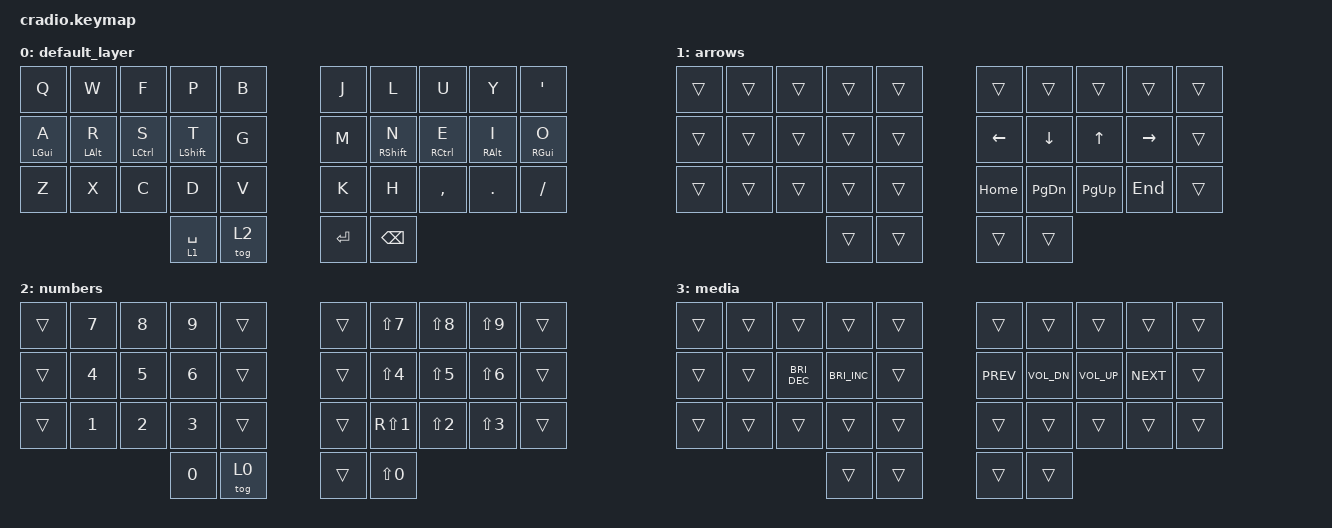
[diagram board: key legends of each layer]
/*
 * Copyright (c) 2020 The ZMK Contributors
 *
 * SPDX-License-Identifier: MIT
 */

#include <behaviors.dtsi>
#include "keymap_italian.h"
#include <dt-bindings/zmk/keys.h>

// Layer definitions

#define BASE 0
#define SYM 1
#define EXT 2
#define FNC 3
#define SYM2 4
#define ACCENT 5
#define SETTINGS 6

// -----------------

&mt {
    //  flavor = "tap-preferred";
    // tapping_term_ms = <200>;
};

&sk {
    ignore-modifiers;
};

/ {
    macros {
        // sometimes my device thinks a modifier is being held down
        // pressing all modifiers fixes it.

        unstick: unstick {
            label = "ZM_unstick";
            compatible = "zmk,behavior-macro";
            #binding-cells = <0>;
            bindings = <&kp LSHIFT &kp RSHIFT &kp LCTRL &kp RCTRL &kp LALT &kp RALT &kp LGUI &kp RGUI>;
        };
    };

    combos {
        compatible = "zmk,combos";

        // both right thumb keys
        // internal-left & external-right thumb keys
        // both left thumb keys

        esc {
            timeout-ms = <300>;
            key-positions = <30 31>;
            bindings = <&kp ESC>;
        };

        tog_def_layer {
            bindings = <&tog 0>;
            key-positions = <33 30>;
            layers = <3 1 2>;
        };
    };

    keymap {
        compatible = "zmk,keymap";

        // Base alpha layer

        default_layer {
            bindings = <
&kp Q       &kp W           &kp F        &kp P             &kp B     &kp J       &kp L              &kp U        &kp Y            &kp SQT
&mt LGUI A  &mt LEFT_ALT R  &mt LCTRL S  &mt LEFT_SHIFT T  &kp G     &kp M       &mt RIGHT_SHIFT N  &mt RCTRL E  &mt RIGHT_ALT I  &mt RGUI O
&kp Z       &kp X           &kp C        &kp D             &kp V     &kp K       &kp H              &kp COMMA    &kp PERIOD       &kp SLASH
                                         &lt 1 SPACE       &tog 2    &kp RETURN  &kp BACKSPACE
            >;
        };

        arrows {
            bindings = <
&trans  &trans  &trans  &trans  &trans    &trans    &trans     &trans     &trans     &trans
&trans  &trans  &trans  &trans  &trans    &kp LEFT  &kp DOWN   &kp UP     &kp RIGHT  &trans
&trans  &trans  &trans  &trans  &trans    &kp HOME  &kp PG_DN  &kp PG_UP  &kp END    &trans
                        &trans  &trans    &trans    &trans
            >;

            label = "arrows";
        };

        numbers {
            bindings = <
&trans  &kp N7  &kp N8  &kp N9  &trans    &trans  &kp LS(N7)        &kp LS(N8)        &kp LS(N9)        &trans
&trans  &kp N4  &kp N5  &kp N6  &trans    &trans  &kp LS(NUMBER_4)  &kp LS(N5)        &kp LS(NUMBER_6)  &trans
&trans  &kp N1  &kp N2  &kp N3  &trans    &trans  &kp RS(NUMBER_1)  &kp LS(NUMBER_2)  &kp LS(NUMBER_3)  &trans
                        &kp N0  &tog 0    &trans  &kp LS(N0)
            >;

            label = "numbers";
        };

        media {
            bindings = <
&trans  &trans  &trans         &trans         &trans    &trans      &trans        &trans           &trans      &trans
&trans  &trans  &kp C_BRI_DEC  &kp C_BRI_INC  &trans    &kp C_PREV  &kp C_VOL_DN  &kp C_VOLUME_UP  &kp C_NEXT  &trans
&trans  &trans  &trans         &trans         &trans    &trans      &trans        &trans           &trans      &trans
                               &trans         &trans    &trans      &trans
            >;

            label = "media";
        };

        // Numbers and high frequency symbols
        // Main modifiers and arrow keys
        // Function keys with modifiers
        // Low frequency symbols.
        // Used to type regional accents.
        // Used to change the keyboard's settings.
    };
};
